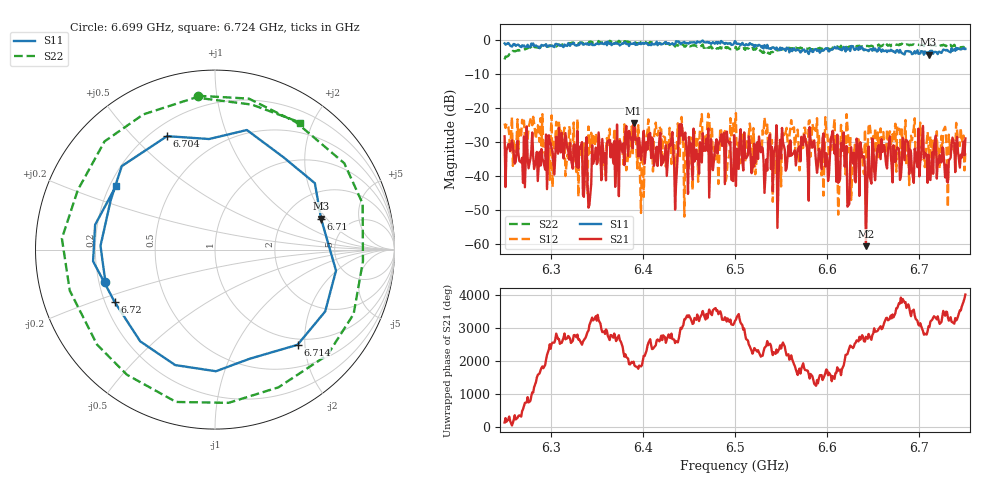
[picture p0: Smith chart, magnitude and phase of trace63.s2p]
# Hz S RI R 50
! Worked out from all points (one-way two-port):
!   401 points, 6.25 GHz to 6.75 GHz, reference 50 ohm
!   highest |S21| = -24.28 dB at 6.39 GHz (marker M1); lowest = -60.6 dB at 6.642 GHz (marker M2)
!   lowest |S11| = -4.2 dB at 6.71 GHz (marker M3), VSWR 4.20, Z = 157 + j87.6 ohm
!   |S11| at or under -10 dB: nowhere
!   |S22| runs from -5.6 to -0.1 dB; largest |S21 - S12| = 0.12
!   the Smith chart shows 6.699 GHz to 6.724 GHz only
!   S11 on the Smith chart (normalised r, x): 6.699 GHz: 0.23, -0.14; 6.704 GHz: 0.26, +0.63; 6.71 GHz: 3.15, +1.75; 6.714 GHz: 0.89, -1.85; 6.72 GHz: 0.24, -0.23; 6.724 GHz: 0.23, +0.28
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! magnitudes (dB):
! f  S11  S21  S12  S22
! 6.25 GHz  -0.8  -28.2  -24.5  -5.6
! 6.334 GHz  -0.7  -29.9  -32.9  -0.6
! 6.39 GHz  -1.0  -24.3  -23.5  -0.4
! 6.4 GHz  -0.7  -29.2  -31.7  -0.5
! 6.418 GHz  -0.7  -29.0  -25.3  -0.9
! 6.448 GHz  -0.7  -33.9  -34.2  -1.2
! 6.472 GHz  -0.5  -46.3  -23.2  -2.1
! 6.491 GHz  -0.8  -26.8  -39.6  -2.3
! 6.5 GHz  -0.2  -31.4  -25.0  -2.1
! 6.532 GHz  -1.4  -44.9  -22.6  -3.7
! 6.541 GHz  -2.0  -44.4  -47.5  -3.4
! 6.584 GHz  -3.4  -31.6  -24.5  -2.6
! 6.611 GHz  -2.0  -27.7  -34.9  -1.7
! 6.642 GHz  -2.7  -60.6  -34.5  -1.6
! 6.668 GHz  -3.1  -28.3  -26.7  -1.2
! 6.699 GHz  -3.9  -26.0  -33.9  -1.3
! 6.704 GHz  -3.3  -25.2  -34.1  -1.3
! 6.71 GHz  -4.2  -33.7  -31.2  -1.3
! 6.714 GHz  -3.1  -32.9  -35.1  -1.5
! 6.72 GHz  -4.0  -35.1  -34.7  -1.4
! 6.724 GHz  -3.7  -35.9  -28.1  -1.4
! 6.75 GHz  -2.5  -28.9  -32.5  -2.1
